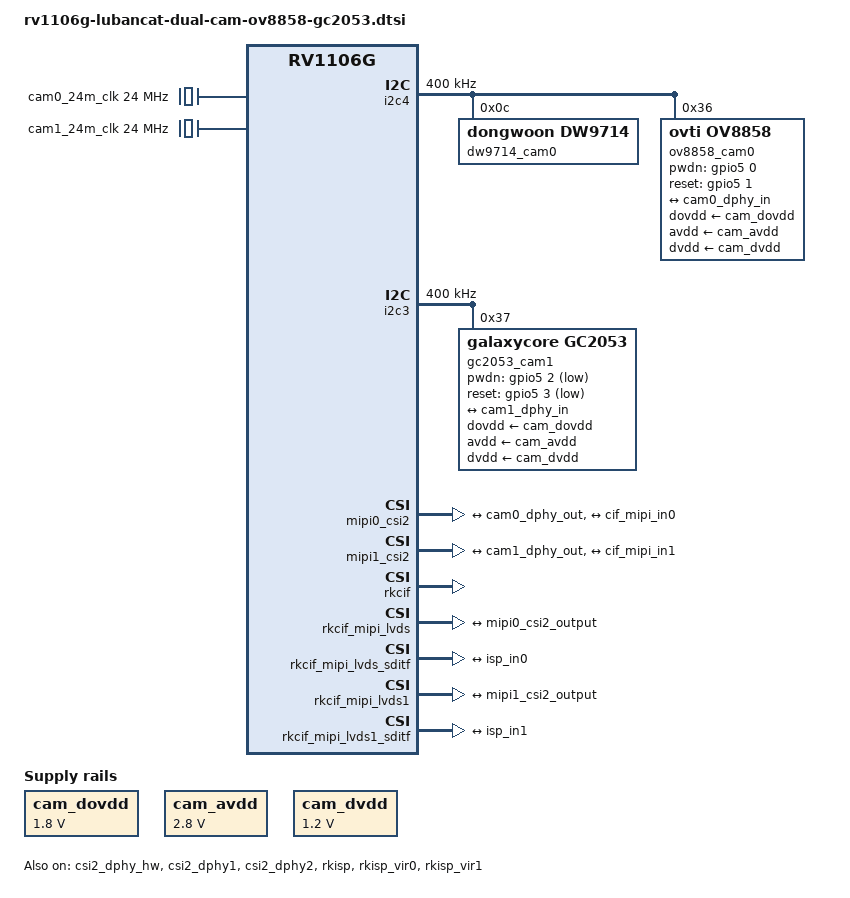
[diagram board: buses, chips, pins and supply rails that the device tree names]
// SPDX-License-Identifier: (GPL-2.0+ OR MIT)

/ {
	cam0_24m_clk: cam0-24m-clock {
		compatible = "fixed-clock";
		#clock-cells = <0>;
		clock-frequency = <24000000>;
		clock-output-names = "cam0_24m_clk";
	};

	cam1_24m_clk: cam1-24m-clock {
		compatible = "fixed-clock";
		#clock-cells = <0>;
		clock-frequency = <24000000>;
		clock-output-names = "cam1_24m_clk";
	};

	cam_dovdd: cam-dovdd {
		compatible = "regulator-fixed";
		regulator-name = "cam_dovdd";
		regulator-always-on;
		regulator-boot-on;
		regulator-min-microvolt = <1800000>;
		regulator-max-microvolt = <1800000>;
	};

	cam_avdd: cam-avdd {
		compatible = "regulator-fixed";
		regulator-name = "cam_avdd";
		regulator-always-on;
		regulator-boot-on;
		regulator-min-microvolt = <2800000>;
		regulator-max-microvolt = <2800000>;
	};

	cam_dvdd: cam-dvdd {
		compatible = "regulator-fixed";
		regulator-name = "cam_dvdd";
		regulator-always-on;
		regulator-boot-on;
		regulator-min-microvolt = <1200000>;
		regulator-max-microvolt = <1200000>;
	};
};

&csi2_dphy_hw {
	status = "okay";
};

&csi2_dphy1 {
	status = "okay";

	ports {
		#address-cells = <1>;
		#size-cells = <0>;

		port@0 {
			reg = <0>;
			#address-cells = <1>;
			#size-cells = <0>;

			cam0_dphy_in: endpoint@0 {
				reg = <0>;
				remote-endpoint = <&ov8858_cam0_out>;
				data-lanes = <1 2>;
			};
		};

		port@1 {
			reg = <1>;

			cam0_dphy_out: endpoint {
				remote-endpoint = <&mipi0_csi2_input>;
			};
		};
	};
};

&csi2_dphy2 {
	status = "okay";

	ports {
		#address-cells = <1>;
		#size-cells = <0>;

		port@0 {
			reg = <0>;
			#address-cells = <1>;
			#size-cells = <0>;

			cam1_dphy_in: endpoint@3 {
				reg = <3>;
				remote-endpoint = <&gc2053_cam1_out>;
				data-lanes = <1 2>;
			};
		};

		port@1 {
			reg = <1>;
			#address-cells = <1>;
			#size-cells = <0>;

			cam1_dphy_out: endpoint@0 {
				reg = <0>;
				remote-endpoint = <&mipi1_csi2_input>;
			};
		};
	};
};

&i2c4 {
	status = "okay";
	clock-frequency = <400000>;
	pinctrl-names = "default";
	pinctrl-0 = <&i2c4m2_xfer>;

	dw9714_cam0: dw9714-cam0@c {
		compatible = "dongwoon,dw9714";
		reg = <0x0c>;
		rockchip,camera-module-index = <0>;
		rockchip,camera-module-facing = "back";
		rockchip,vcm-max-current = <100>;
		rockchip,vcm-start-current = <0>;
		rockchip,vcm-rated-current = <100>;
		rockchip,vcm-step-mode = <0x0d>;
		rockchip,vcm-dlc-enable = <0>;
		rockchip,vcm-mclk = <0>;
		rockchip,vcm-t-src = <0>;
	};

	ov8858_cam0: ov8858-cam0@36 {
		compatible = "ovti,ov8858";
		status = "okay";
		reg = <0x36>;
		clocks = <&cam0_24m_clk>;
		clock-names = "xvclk";
		pwdn-gpios = <&gpio5 0 GPIO_ACTIVE_HIGH>;
		reset-gpios = <&gpio5 1 GPIO_ACTIVE_HIGH>;
		dovdd-supply = <&cam_dovdd>;
		avdd-supply = <&cam_avdd>;
		dvdd-supply = <&cam_dvdd>;
		rockchip,camera-module-index = <0>;
		rockchip,camera-module-facing = "back";
		rockchip,camera-module-name = "HS5885-BNSM1018-V01";
		rockchip,camera-module-lens-name = "default";
		lens-focus = <&dw9714_cam0>;

		port {
			ov8858_cam0_out: endpoint {
				remote-endpoint = <&cam0_dphy_in>;
				data-lanes = <1 2>;
			};
		};
	};
};

&i2c3 {
	status = "okay";
	clock-frequency = <400000>;
	pinctrl-names = "default";
	pinctrl-0 = <&i2c3m2_xfer>;

	gc2053_cam1: gc2053-cam1@37 {
		compatible = "galaxycore,gc2053";
		status = "okay";
		reg = <0x37>;
		clocks = <&cam1_24m_clk>;
		clock-names = "xvclk";
		pwdn-gpios = <&gpio5 2 GPIO_ACTIVE_LOW>;
		reset-gpios = <&gpio5 3 GPIO_ACTIVE_LOW>;
		dovdd-supply = <&cam_dovdd>;
		avdd-supply = <&cam_avdd>;
		dvdd-supply = <&cam_dvdd>;
		rockchip,camera-module-index = <1>;
		rockchip,camera-module-facing = "back";
		rockchip,camera-module-name = "CMK-OT2274-V10";
		rockchip,camera-module-lens-name = "28IRC-F20";

		port {
			gc2053_cam1_out: endpoint {
				remote-endpoint = <&cam1_dphy_in>;
				data-lanes = <1 2>;
			};
		};
	};
};

&mipi0_csi2 {
	status = "okay";

	ports {
		#address-cells = <1>;
		#size-cells = <0>;

		port@0 {
			reg = <0>;
			mipi0_csi2_input: endpoint {
				remote-endpoint = <&cam0_dphy_out>;
			};
		};

		port@1 {
			reg = <1>;
			mipi0_csi2_output: endpoint {
				remote-endpoint = <&cif_mipi_in0>;
			};
		};
	};
};

&mipi1_csi2 {
	status = "okay";

	ports {
		#address-cells = <1>;
		#size-cells = <0>;

		port@0 {
			reg = <0>;
			#address-cells = <1>;
			#size-cells = <0>;
			mipi1_csi2_input: endpoint@1 {
				reg = <1>;
				remote-endpoint = <&cam1_dphy_out>;
			};
		};

		port@1 {
			reg = <1>;
			#address-cells = <1>;
			#size-cells = <0>;
			mipi1_csi2_output: endpoint@0 {
				reg = <0>;
				remote-endpoint = <&cif_mipi_in1>;
			};
		};
	};
};

&rkcif {
	status = "okay";
	pinctrl-names = "default";
	pinctrl-0 = <&mipi_pins>;
};

&rkcif_mipi_lvds {
	status = "okay";
	port {
		cif_mipi_in0: endpoint {
			remote-endpoint = <&mipi0_csi2_output>;
		};
	};
};

&rkcif_mipi_lvds_sditf {
	status = "okay";
	port {
		mipi_lvds0_sditf: endpoint {
			remote-endpoint = <&isp_in0>;
		};
	};
};

&rkcif_mipi_lvds1 {
	status = "okay";
	port {
		cif_mipi_in1: endpoint {
			remote-endpoint = <&mipi1_csi2_output>;
		};
	};
};

&rkcif_mipi_lvds1_sditf {
	status = "okay";
	port {
		mipi_lvds1_sditf: endpoint {
			remote-endpoint = <&isp_in1>;
		};
	};
};

&rkisp {
	status = "okay";
};

&rkisp_vir0 {
	status = "okay";
	port@0 {
		isp_in0: endpoint {
			remote-endpoint = <&mipi_lvds0_sditf>;
		};
	};
};

&rkisp_vir1 {
	status = "okay";
	port@0 {
		isp_in1: endpoint {
			remote-endpoint = <&mipi_lvds1_sditf>;
		};
	};
};
